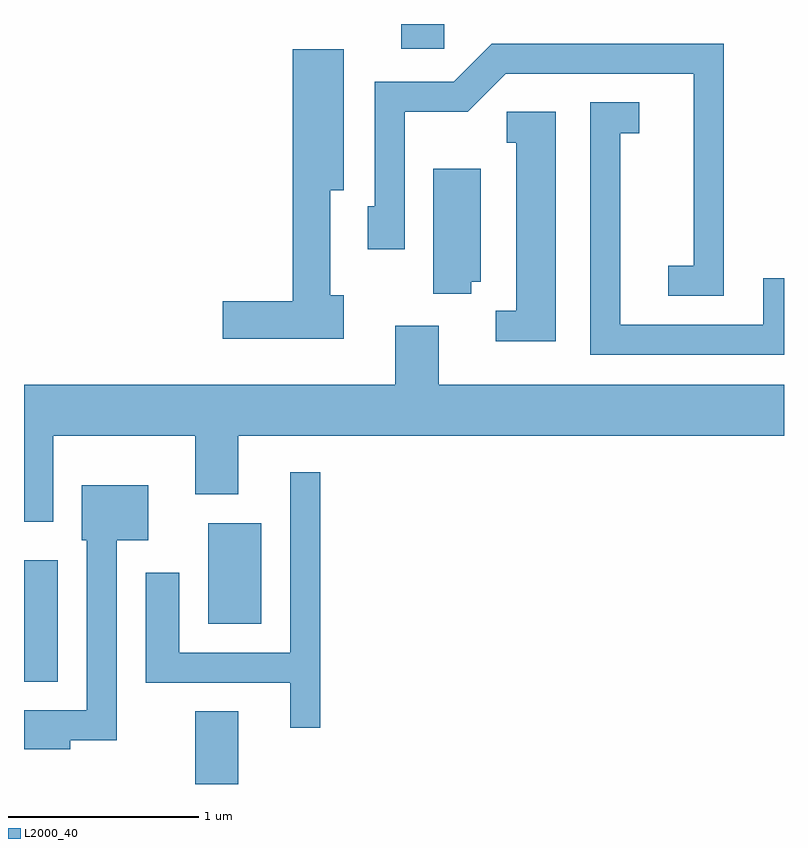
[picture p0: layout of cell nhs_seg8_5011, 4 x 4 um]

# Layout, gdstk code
import gdstk
lib = gdstk.Library(unit=1e-6, precision=1e-09)
def R(c, l, rs):  # rectangles x0, y0, x1, y1
    for r in rs: c.add(gdstk.rectangle(r[:2], r[2:], *l))
def P(c, l, *ps):  # polygons
    for p in ps: c.add(gdstk.Polygon(p, *l))
L2000_40 = (2000, 40)

nhs_seg8_5011 = lib.new_cell('nhs_seg8_5011')
R(nhs_seg8_5011, L2000_40, [(336.511,1852.342,336.739,1852.724), (335.611,1852.881,335.789,1853.519), (336.581,1853.186,336.859,1853.714), (337.596,1856.211,337.824,1856.342)])
P(nhs_seg8_5011, L2000_40, [(339.294,1856.239),(338.074,1856.239),(337.874,1856.039),(337.456,1856.039),(337.456,1855.384),(337.421,1855.384),(337.421,1855.156),(337.614,1855.156),(337.614,1855.881),(337.947,1855.881),(338.147,1856.081),(339.136,1856.081),(339.136,1855.069),(339.003,1855.069),(339.003,1854.911),(339.294,1854.911)],
  [(337.294,1854.914),(337.224,1854.914),(337.224,1855.466),(337.294,1855.466),(337.294,1856.209),(337.026,1856.209),(337.026,1854.884),(336.656,1854.884),(336.656,1854.686),(337.294,1854.686)],
  [(339.611,1855.004),(339.501,1855.004),(339.501,1854.759),(338.749,1854.759),(338.749,1855.766),(338.848,1855.766),(338.848,1855.929),(338.591,1855.929),(338.591,1854.601),(339.611,1854.601)],
  [(338.409,1855.879),(338.153,1855.879),(338.153,1855.716),(338.201,1855.716),(338.201,1854.834),(338.093,1854.834),(338.093,1854.671),(338.409,1854.671)],
  [(337.964,1854.986),(338.014,1854.986),(338.014,1855.579),(337.766,1855.579),(337.766,1854.921),(337.964,1854.921)],
  [(335.764,1854.176),(336.511,1854.176),(336.511,1853.866),(336.739,1853.866),(336.739,1854.176),(339.611,1854.176),(339.611,1854.444),(337.794,1854.444),(337.794,1854.754),(337.566,1854.754),(337.566,1854.444),(335.611,1854.444),(335.611,1853.721),(335.764,1853.721)],
  [(337.169,1853.983),(337.011,1853.983),(337.011,1853.034),(336.429,1853.034),(336.429,1853.454),(336.251,1853.454),(336.251,1852.876),(337.011,1852.876),(337.011,1852.638),(337.169,1852.638)],
  [(335.854,1852.571),(336.099,1852.571),(336.099,1853.626),(336.264,1853.626),(336.264,1853.914),(335.916,1853.914),(335.916,1853.626),(335.941,1853.626),(335.941,1852.729),(335.611,1852.729),(335.611,1852.526),(335.854,1852.526)])

lib.write_gds('nhs_seg8_5011.gds')
